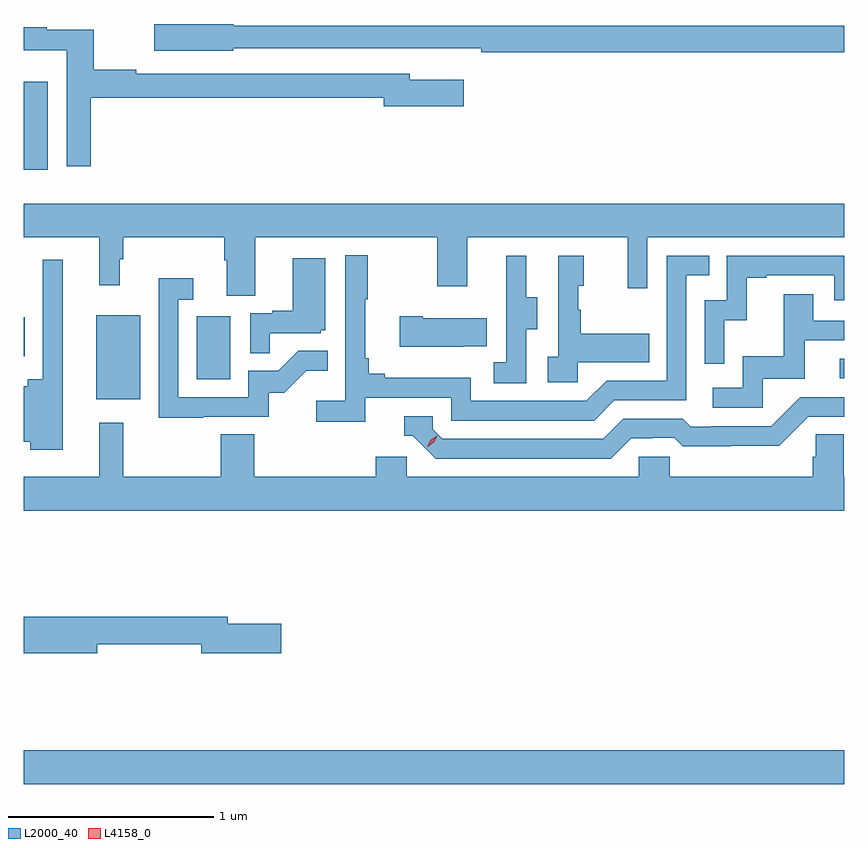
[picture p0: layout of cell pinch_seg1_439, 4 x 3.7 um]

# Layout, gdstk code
import gdstk
lib = gdstk.Library(unit=1e-6, precision=1e-09)
def R(c, l, rs):  # rectangles x0, y0, x1, y1
    for r in rs: c.add(gdstk.rectangle(r[:2], r[2:], *l))
def P(c, l, *ps):  # polygons
    for p in ps: c.add(gdstk.Polygon(p, *l))
L2000_40 = (2000, 40)
L4158_0 = (4158, 0)

pinch_seg1_439 = lib.new_cell('pinch_seg1_439')
R(pinch_seg1_439, L2000_40, [(969.671,518.432,973.671,518.596), (970.025,520.307,970.24,520.717), (970.514,520.404,970.678,520.711), (973.647,520.41,973.671,520.503), (969.671,520.517,969.676,520.705), (969.671,521.424,969.79,521.854)])
P(pinch_seg1_439, L2000_40, [(973.671,522.127),(970.692,522.127),(970.692,522.135),(970.308,522.135),(970.308,522.005),(970.692,522.005),(970.692,522.018),(971.65,522.018),(971.65,522.017),(971.902,522.017),(971.902,521.998),(973.671,521.998)],
  [(969.998,521.776),(971.426,521.776),(971.426,521.734),(971.815,521.734),(971.815,521.863),(971.554,521.863),(971.554,521.892),(970.22,521.892),(970.22,521.912),(970.012,521.912),(970.012,522.108),(969.785,522.108),(969.785,522.118),(969.671,522.118),(969.671,522.009),(969.672,522.009),(969.672,522.008),(969.882,522.008),(969.882,521.442),(969.998,521.442)],
  [(970.801,521.096),(971.686,521.096),(971.686,520.857),(971.833,520.857),(971.833,521.096),(972.614,521.096),(972.614,520.847),(972.711,520.847),(972.711,521.096),(973.671,521.096),(973.671,521.26),(969.671,521.26),(969.671,521.096),(970.04,521.096),(970.04,520.863),(970.139,520.863),(970.139,520.988),(970.157,520.988),(970.157,521.096),(970.649,521.096),(970.649,520.984),(970.661,520.984),(970.661,520.81),(970.801,520.81)],
  [(971.336,520.314),(971.754,520.314),(971.754,520.203),(972.451,520.203),(972.55,520.302),(972.9,520.302),(972.9,520.911),(973.013,520.911),(973.013,521.007),(972.804,521.007),(972.804,520.398),(972.513,520.398),(972.414,520.299),(971.85,520.299),(971.85,520.411),(971.431,520.411),(971.431,520.43),(971.354,520.43),(971.354,520.507),(971.335,520.507),(971.335,520.795),(971.347,520.795),(971.347,521.008),(971.238,521.008),(971.238,520.3),(971.097,520.3),(971.097,520.198),(971.336,520.198)],
  [(973.086,520.691),(973.196,520.691),(973.196,520.899),(973.291,520.899),(973.291,520.911),(973.62,520.911),(973.62,520.788),(973.671,520.788),(973.671,521.007),(973.098,521.007),(973.098,520.788),(972.99,520.788),(972.99,520.479),(973.086,520.479)],
  [(972.12,520.648),(972.175,520.648),(972.175,520.803),(972.121,520.803),(972.121,521.005),(972.023,521.005),(972.023,520.791),(972.024,520.791),(972.024,520.487),(971.961,520.487),(971.961,520.384),(972.12,520.384)],
  [(972.372,520.487),(972.719,520.487),(972.719,520.627),(972.385,520.627),(972.385,520.742),(972.375,520.742),(972.375,520.86),(972.4,520.86),(972.4,521.005),(972.276,521.005),(972.276,520.514),(972.225,520.514),(972.225,520.389),(972.372,520.389)],
  [(970.871,520.629),(971.118,520.629),(971.118,520.644),(971.14,520.644),(971.14,520.993),(970.982,520.993),(970.982,520.738),(970.883,520.738),(970.883,520.725),(970.776,520.725),(970.776,520.531),(970.871,520.531)],
  [(969.862,520.987),(969.765,520.987),(969.765,520.405),(969.692,520.405),(969.692,520.369),(969.671,520.369),(969.671,520.1),(969.704,520.1),(969.704,520.061),(969.862,520.061)],
  [(970.547,520.221),(970.866,520.221),(970.866,520.338),(970.942,520.338),(971.049,520.445),(971.153,520.445),(971.153,520.544),(971.009,520.544),(970.911,520.446),(970.767,520.446),(970.767,520.317),(970.425,520.317),(970.425,520.791),(970.498,520.791),(970.498,520.897),(970.329,520.897),(970.329,520.216),(970.547,520.216)],
  [(973.272,520.407),(973.477,520.407),(973.477,520.593),(973.671,520.593),(973.671,520.689),(973.519,520.689),(973.519,520.819),(973.375,520.819),(973.375,520.516),(973.176,520.516),(973.176,520.362),(973.029,520.362),(973.029,520.266),(973.272,520.266)],
  [(971.819,520.565),(971.927,520.565),(971.927,520.702),(971.617,520.702),(971.617,520.71),(971.505,520.71),(971.505,520.562),(971.819,520.562)],
  [(972.631,520.116),(972.738,520.116),(972.738,520.119),(972.841,520.119),(972.883,520.077),(973.116,520.077),(973.116,520.079),(973.352,520.079),(973.494,520.221),(973.671,520.221),(973.671,520.317),(973.455,520.317),(973.314,520.176),(973.021,520.176),(973.021,520.173),(972.922,520.173),(972.883,520.212),(972.594,520.212),(972.495,520.113),(971.712,520.113),(971.664,520.161),(971.664,520.224),(971.525,520.224),(971.525,520.128),(971.568,520.128),(971.679,520.017),(972.532,520.017)],
  [(970.04,520.192),(970.04,519.928),(969.671,519.928),(969.671,519.764),(973.671,519.764),(973.671,519.928),(973.668,519.928),(973.668,520.136),(973.531,520.136),(973.531,520.026),(973.517,520.026),(973.517,519.928),(972.819,519.928),(972.819,520.026),(972.669,520.026),(972.669,519.928),(971.538,519.928),(971.538,520.026),(971.387,520.026),(971.387,519.928),(970.796,519.928),(970.796,520.136),(970.631,520.136),(970.631,519.928),(970.157,519.928),(970.157,520.192)],
  [(970.03,519.112),(970.538,519.112),(970.538,519.07),(970.927,519.07),(970.927,519.212),(970.666,519.212),(970.666,519.248),(969.671,519.248),(969.671,519.07),(970.03,519.07)])
P(pinch_seg1_439, L4158_0, [(971.639,520.076),(971.639,520.076),(971.656,520.109),(971.686,520.129),(971.687,520.129),(971.687,520.128),(971.67,520.096),(971.64,520.076)])

lib.write_gds('pinch_seg1_439.gds')
